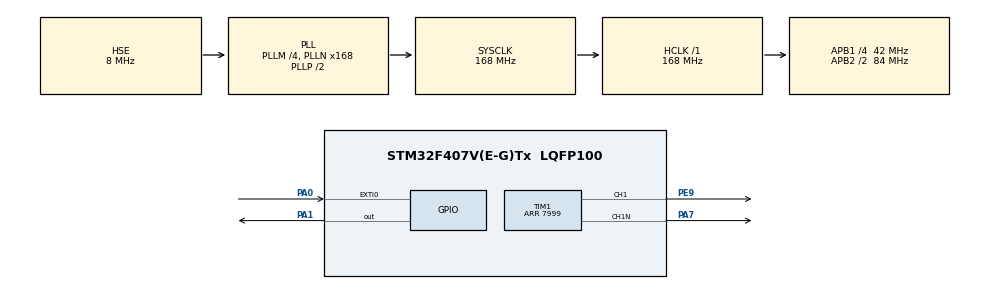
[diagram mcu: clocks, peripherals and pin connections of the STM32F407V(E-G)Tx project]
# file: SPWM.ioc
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Mcu.Family=STM32F4
Mcu.Name=STM32F407V(E-G)Tx
Mcu.Package=LQFP100
NVIC.EXTI0_IRQn=true\:0\:0\:false\:false\:true\:true\:true
NVIC.PriorityGroup=NVIC_PRIORITYGROUP_4
NVIC.TIM1_CC_IRQn=true\:0\:0\:false\:false\:true\:true\:true
PA0-WKUP.GPIO_ModeDefaultEXTI=GPIO_MODE_IT_RISING_FALLING
PA0-WKUP.Signal=GPXTI0
PA1.GPIO_PuPd=GPIO_NOPULL
PA1.PinState=GPIO_PIN_SET
PA1.Signal=GPIO_Output
PA7.Mode=PWM Generation1 CH1 CH1N
PA7.Signal=TIM1_CH1N
PE9.Signal=S_TIM1_CH1
PH0-OSC_IN.Mode=HSE-External-Oscillator
PH0-OSC_IN.Signal=RCC_OSC_IN
PH1-OSC_OUT.Mode=HSE-External-Oscillator
PH1-OSC_OUT.Signal=RCC_OSC_OUT
ProjectManager.HeapSize=0x200
ProjectManager.StackSize=0x400
ProjectManager.TargetToolchain=MDK-ARM V5.27
RCC.48MHZClocksFreq_Value=84000000
RCC.AHBFreq_Value=168000000
RCC.APB1CLKDivider=RCC_HCLK_DIV4
RCC.APB1Freq_Value=42000000
RCC.APB1TimFreq_Value=84000000
RCC.APB2CLKDivider=RCC_HCLK_DIV2
RCC.APB2Freq_Value=84000000
RCC.APB2TimFreq_Value=168000000
RCC.CortexFreq_Value=168000000
RCC.HCLKFreq_Value=168000000
RCC.HSE_VALUE=8000000
RCC.HSI_VALUE=16000000
RCC.LSE_VALUE=32768
RCC.PLLM=4
RCC.PLLN=168
RCC.PLLSourceVirtual=RCC_PLLSOURCE_HSE
RCC.SYSCLKFreq_VALUE=168000000
RCC.SYSCLKSource=RCC_SYSCLKSOURCE_PLLCLK
RCC.VCOOutputFreq_Value=336000000
SH.S_TIM1_CH1.0=TIM1_CH1,PWM Generation1 CH1 CH1N
TIM1.Channel-PWM\ Generation1\ CH1\ CH1N=TIM_CHANNEL_1
TIM1.Period=7999
TIM1.Pulse-PWM\ Generation1\ CH1\ CH1N=123
VP_TIM1_VS_ClockSourceINT.Mode=Internal
board=custom

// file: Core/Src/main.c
/* USER CODE BEGIN Header */
/**
  ******************************************************************************
  * @file           : main.c
  * @brief          : Main program body
  ******************************************************************************
  * @attention
  *
  * <h2><center>&copy; Copyright (c) 2021 STMicroelectronics.
  * All rights reserved.</center></h2>
  *
  * This software component is licensed by ST under BSD 3-Clause license,
  * the "License"; You may not use this file except in compliance with the
  * License. You may obtain a copy of the License at:
  *                        opensource.org/licenses/BSD-3-Clause
  *
  ******************************************************************************
  */
/* USER CODE END Header */
#include "main.h"
#include "tim.h"
#include "gpio.h"

/* USER CODE BEGIN PD */

//一周期内分多少段
#define SPWM_N 840

/* USER CODE END PD */

/* USER CODE BEGIN PV */

//序列计数
static int spwmCnt = 0;
//SPWM计数
static int spwmData[SPWM_N] = {
	4012,4038,4063,4088,4114,4139,4165,4190,4215,4241,4266,4292,4317,4342,4367,4393,
	4418,4443,4468,4494,4519,4544,4569,4594,4619,4644,4669,4694,4719,4744,4768,4793,
	4818,4842,4867,4892,4916,4941,4965,4989,5014,5038,5062,5086,5110,5134,5158,5182,
	5206,5230,5253,5277,5300,5324,5347,5371,5394,5417,5440,5463,5486,5509,5532,5554,
	5577,5599,5622,5644,5666,5688,5710,5732,5754,5776,5797,5819,5840,5862,5883,5904,
	5925,5946,5967,5987,6008,6028,6049,6069,6089,6109,6129,6149,6168,6188,6207,6227,
	6246,6265,6284,6302,6321,6340,6358,6376,6394,6412,6430,6448,6465,6483,6500,6517,
	6534,6551,6568,6585,6601,6617,6633,6649,6665,6681,6697,6712,6727,6742,6757,6772,
	6787,6801,6815,6830,6844,6858,6871,6885,6898,6911,6924,6937,6950,6962,6975,6987,
	6999,7011,7023,7034,7046,7057,7068,7079,7089,7100,7110,7120,7130,7140,7150,7159,
	7169,7178,7187,7195,7204,7212,7221,7229,7237,7244,7252,7259,7266,7273,7280,7286,
	7293,7299,7305,7311,7317,7322,7327,7332,7337,7342,7347,7351,7355,7359,7363,7367,
	7370,7373,7376,7379,7382,7384,7386,7389,7390,7392,7394,7395,7396,7397,7398,7398,
	7399,7399,7399,7399,7398,7398,7397,7396,7395,7394,7392,7390,7389,7386,7384,7382,
	7379,7376,7373,7370,7367,7363,7359,7355,7351,7347,7342,7337,7332,7327,7322,7317,
	7311,7305,7299,7293,7286,7280,7273,7266,7259,7252,7244,7237,7229,7221,7212,7204,
	7195,7187,7178,7169,7159,7150,7140,7130,7120,7110,7100,7089,7079,7068,7057,7046,
	7034,7023,7011,6999,6987,6975,6962,6950,6937,6924,6911,6898,6885,6871,6858,6844,
	6830,6815,6801,6787,6772,6757,6742,6727,6712,6697,6681,6665,6649,6633,6617,6601,
	6585,6568,6551,6534,6517,6500,6483,6465,6448,6430,6412,6394,6376,6358,6340,6321,
	6302,6284,6265,6246,6227,6207,6188,6168,6149,6129,6109,6089,6069,6049,6028,6008,
	5987,5967,5946,5925,5904,5883,5862,5840,5819,5797,5776,5754,5732,5710,5688,5666,
	5644,5622,5599,5577,5554,5532,5509,5486,5463,5440,5417,5394,5371,5347,5324,5300,
	5277,5253,5230,5206,5182,5158,5134,5110,5086,5062,5038,5014,4989,4965,4941,4916,
	4892,4867,4842,4818,4793,4768,4744,4719,4694,4669,4644,4619,4594,4569,4544,4519,
	4494,4468,4443,4418,4393,4367,4342,4317,4292,4266,4241,4215,4190,4165,4139,4114,
	4088,4063,4038,4012,3987,3961,3936,3911,3885,3860,3834,3809,3784,3758,3733,3707,
	3682,3657,3632,3606,3581,3556,3531,3505,3480,3455,3430,3405,3380,3355,3330,3305,
	3280,3255,3231,3206,3181,3157,3132,3107,3083,3058,3034,3010,2985,2961,2937,2913,
	2889,2865,2841,2817,2793,2769,2746,2722,2699,2675,2652,2628,2605,2582,2559,2536,
	2513,2490,2467,2445,2422,2400,2377,2355,2333,2311,2289,2267,2245,2223,2202,2180,
	2159,2137,2116,2095,2074,2053,2032,2012,1991,1971,1950,1930,1910,1890,1870,1850,
	1831,1811,1792,1772,1753,1734,1715,1697,1678,1659,1641,1623,1605,1587,1569,1551,
	1534,1516,1499,1482,1465,1448,1431,1414,1398,1382,1366,1350,1334,1318,1302,1287,
	1272,1257,1242,1227,1212,1198,1184,1169,1155,1141,1128,1114,1101,1088,1075,1062,
	1049,1037,1024,1012,1000,988,976,965,953,942,931,920,910,899,889,879,869,859,849,
	840,830,821,812,804,795,787,778,770,762,755,747,740,733,726,719,713,706,700,694,
	688,682,677,672,667,662,657,652,648,644,640,636,632,629,626,623,620,617,615,613,
	610,609,607,605,604,603,602,601,601,600,600,600,600,601,601,602,603,604,605,607,
	609,610,613,615,617,620,623,626,629,632,636,640,644,648,652,657,662,667,672,677,
	682,688,694,700,706,713,719,726,733,740,747,755,762,770,778,787,795,804,812,821,
	830,840,849,859,869,879,889,899,910,920,931,942,953,965,976,988,1000,1012,1024,
	1037,1049,1062,1075,1088,1101,1114,1128,1141,1155,1169,1184,1198,1212,1227,1242,
	1257,1272,1287,1302,1318,1334,1350,1366,1382,1398,1414,1431,1448,1465,1482,1499,
	1516,1534,1551,1569,1587,1605,1623,1641,1659,1678,1697,1715,1734,1753,1772,1792,
	1811,1831,1850,1870,1890,1910,1930,1950,1971,1991,2012,2032,2053,2074,2095,2116,
	2137,2159,2180,2202,2223,2245,2267,2289,2311,2333,2355,2377,2400,2422,2445,2467,
	2490,2513,2536,2559,2582,2605,2628,2652,2675,2699,2722,2746,2769,2793,2817,2841,
	2865,2889,2913,2937,2961,2985,3010,3034,3058,3083,3107,3132,3157,3181,3206,3231,
	3255,3280,3305,3330,3355,3380,3405,3430,3455,3480,3505,3531,3556,3581,3606,3632,
	3657,3682,3707,3733,3758,3784,3809,3834,3860,3885,3911,3936,3961,3987
};

/* USER CODE END PV */

void SystemClock_Config(void);

int main(void)
{

  /* MCU Configuration--------------------------------------------------------*/

  /* Reset of all peripherals, Initializes the Flash interface and the Systick. */
  HAL_Init();

  /* Configure the system clock */
  SystemClock_Config();

  /* Initialize all configured peripherals */
  MX_GPIO_Init();
  MX_TIM1_Init();
  /* USER CODE BEGIN 2 */

  HAL_GPIO_WritePin(GPIOA, GPIO_PIN_1, GPIO_PIN_RESET);
	HAL_Delay(2000);
  HAL_GPIO_WritePin(GPIOA, GPIO_PIN_1, GPIO_PIN_SET);
	HAL_Delay(2000);
	HAL_GPIO_WritePin(GPIOA, GPIO_PIN_1, GPIO_PIN_RESET);

  /* USER CODE END 2 */

  /* Infinite loop */
  while (1)
  {

    /* USER CODE BEGIN 3 */
		HAL_TIM_PWM_Start(&htim1,TIM_CHANNEL_1);
		HAL_TIMEx_PWMN_Start(&htim1,TIM_CHANNEL_1);
  }
  /* USER CODE END 3 */
}

void SystemClock_Config(void)
{
  RCC_OscInitTypeDef RCC_OscInitStruct = {0};
  RCC_ClkInitTypeDef RCC_ClkInitStruct = {0};

  /** Configure the main internal regulator output voltage
  */
  __HAL_RCC_PWR_CLK_ENABLE();
  __HAL_PWR_VOLTAGESCALING_CONFIG(PWR_REGULATOR_VOLTAGE_SCALE1);
  /** Initializes the RCC Oscillators according to the specified parameters
  * in the RCC_OscInitTypeDef structure.
  */
  RCC_OscInitStruct.OscillatorType = RCC_OSCILLATORTYPE_HSE;
  RCC_OscInitStruct.HSEState = RCC_HSE_ON;
  RCC_OscInitStruct.PLL.PLLState = RCC_PLL_ON;
  RCC_OscInitStruct.PLL.PLLSource = RCC_PLLSOURCE_HSE;
  RCC_OscInitStruct.PLL.PLLM = 4;
  RCC_OscInitStruct.PLL.PLLN = 168;
  RCC_OscInitStruct.PLL.PLLP = RCC_PLLP_DIV2;
  RCC_OscInitStruct.PLL.PLLQ = 4;
  if (HAL_RCC_OscConfig(&RCC_OscInitStruct) != HAL_OK)
  {
    Error_Handler();
  }
  /** Initializes the CPU, AHB and APB buses clocks
  */
  RCC_ClkInitStruct.ClockType = RCC_CLOCKTYPE_HCLK|RCC_CLOCKTYPE_SYSCLK
                              |RCC_CLOCKTYPE_PCLK1|RCC_CLOCKTYPE_PCLK2;
  RCC_ClkInitStruct.SYSCLKSource = RCC_SYSCLKSOURCE_PLLCLK;
  RCC_ClkInitStruct.AHBCLKDivider = RCC_SYSCLK_DIV1;
  RCC_ClkInitStruct.APB1CLKDivider = RCC_HCLK_DIV4;
  RCC_ClkInitStruct.APB2CLKDivider = RCC_HCLK_DIV2;

  if (HAL_RCC_ClockConfig(&RCC_ClkInitStruct, FLASH_LATENCY_5) != HAL_OK)
  {
    Error_Handler();
  }
}

/* USER CODE BEGIN 4 */

//比较中断服务函数
void HAL_TIM_OC_DelayElapsedCallback(TIM_HandleTypeDef *htim)
{
  if(htim == &htim1)
  {
    TIM1->CCR1 = spwmData[spwmCnt++];
    if(spwmCnt >= SPWM_N)
    {
      spwmCnt = 0;
    }
  }
}

/* USER CODE END 4 */

void Error_Handler(void)
{
  __disable_irq();
  while (1)
  {
  }
}

/************************ (C) COPYRIGHT STMicroelectronics *****END OF FILE****/
